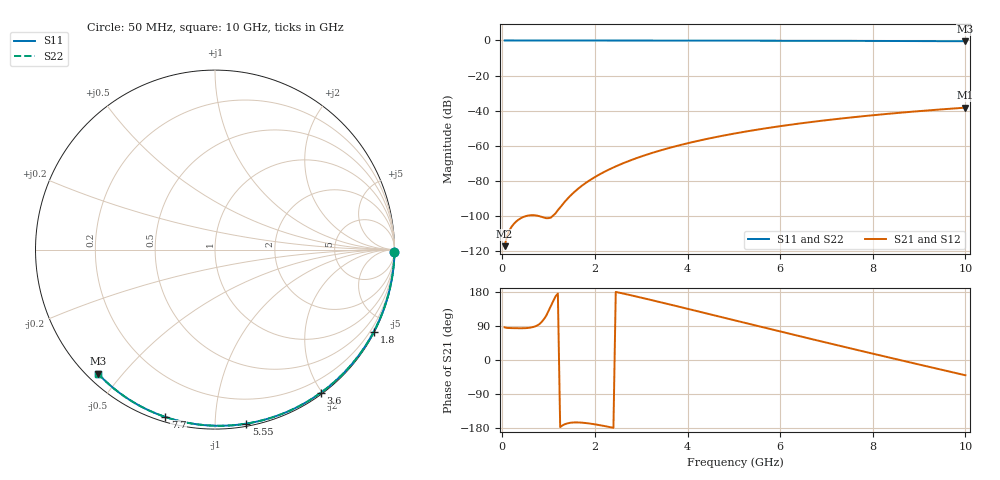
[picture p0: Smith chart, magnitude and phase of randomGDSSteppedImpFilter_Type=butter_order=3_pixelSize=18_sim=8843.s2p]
! freq	dB(S11)	phase(S11)	dB(S12)	phase(S12)
!  dB(S21)	phase(S21)	dB(S22)	phase(S22)
!S-par simulation data
#  GHz  S  DB  R 50
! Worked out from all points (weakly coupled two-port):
!   200 points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, 50 MHz to 10 GHz, reference 50 ohm
!   highest |S21| = -38.26 dB at 10 GHz (marker M1); lowest = -117.1 dB at 50 MHz (marker M2)
!   lowest |S11| = -0.4 dB at 10 GHz (marker M3), VSWR 38.91, Z = 1.52 - j21.5 ohm
!   |S11| at or under -10 dB: nowhere
!   |S22| runs from -0.4 to 0.0 dB; largest |S21 - S12| = 0
!   S11 on the Smith chart (normalised r, x): 50 MHz: open; 1.8 GHz: 0.04, -4.11; 3.6 GHz: 0.02, -1.98; 5.55 GHz: 0.02, -1.20; 7.7 GHz: 0.02, -0.75; 10 GHz: 0.03, -0.43
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0.05  -0.00 -0.8  -117.14 86.1  -117.14 86.1  -0.00 -0.8
0.45  -0.01 -6.9  -100.57 83.8  -100.57 83.8  -0.01 -6.9
0.9  -0.02 -13.8  -100.90 108.0  -100.90 108.0  -0.02 -13.8
1.75  -0.03 -26.6  -82.11 -165.7  -82.11 -165.7  -0.03 -26.6
1.8  -0.03 -27.4  -81.17 -166.3  -81.17 -166.3  -0.03 -27.4
1.85  -0.04 -28.1  -80.27 -167.0  -80.27 -167.0  -0.04 -28.1
1.9  -0.04 -28.8  -79.41 -167.9  -79.41 -167.9  -0.04 -28.9
2.05  -0.04 -31.1  -77.01 -170.8  -77.01 -170.8  -0.04 -31.1
2.25  -0.04 -34.0  -74.20 -175.3  -74.20 -175.3  -0.04 -34.0
2.65  -0.05 -39.9  -69.48 174.3  -69.48 174.3  -0.05 -39.9
3  -0.06 -44.9  -66.07 164.5  -66.07 164.5  -0.06 -45.0
3.4  -0.07 -50.7  -62.73 152.9  -62.73 152.9  -0.07 -50.7
3.6  -0.07 -53.5  -61.24 147.1  -61.24 147.1  -0.07 -53.5
4.3  -0.09 -63.2  -56.73 126.2  -56.73 126.2  -0.09 -63.2
5.05  -0.11 -73.3  -52.82 103.7  -52.82 103.7  -0.11 -73.3
5.55  -0.13 -79.8  -50.60 88.8  -50.60 88.8  -0.13 -79.9
6.1  -0.15 -86.9  -48.43 72.4  -48.43 72.4  -0.15 -86.9
6.7  -0.18 -94.4  -46.34 54.6  -46.34 54.6  -0.18 -94.4
7.7  -0.24 -106.6  -43.37 25.4  -43.37 25.4  -0.24 -106.6
8.35  -0.29 -114.3  -41.72 6.6  -41.72 6.6  -0.29 -114.3
9.15  -0.36 -123.6  -39.92 -16.2  -39.92 -16.2  -0.36 -123.6
10  -0.45 -133.4  -38.26 -40.3  -38.26 -40.3  -0.45 -133.4
